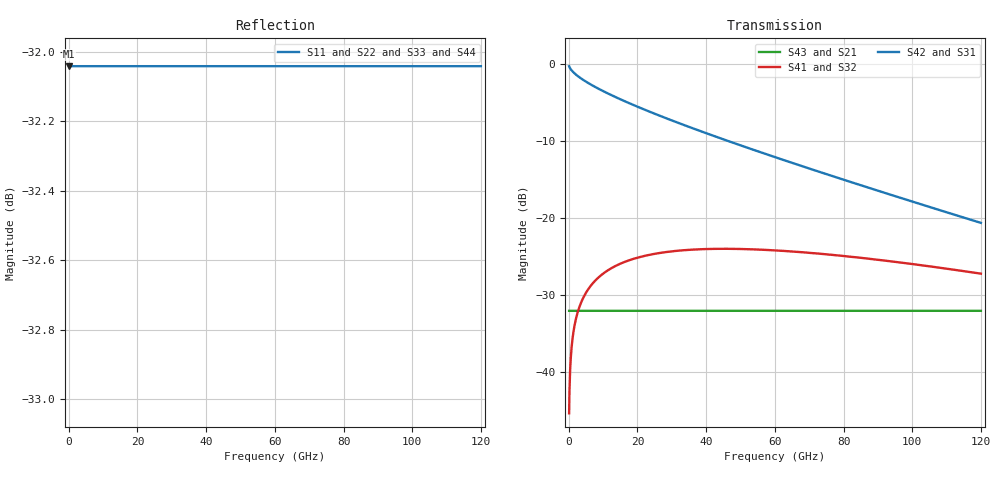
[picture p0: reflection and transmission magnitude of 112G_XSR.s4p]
! Created with skrf 1.12.0 (http://scikit-rf.org).
# Hz S RI R 50.0
!freq ReS11 ImS11 ReS12 ImS12 ReS13 ImS13
! ReS14 ImS14
! ReS21 ImS21 ReS22 ImS22 ReS23 ImS23
! ReS24 ImS24
! ReS31 ImS31 ReS32 ImS32 ReS33 ImS33
! ReS34 ImS34
! ReS41 ImS41 ReS42 ImS42 ReS43 ImS43
! ReS44 ImS44
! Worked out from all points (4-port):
!   1200 points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, 100 MHz to 120 GHz, reference 50 ohm
!   strongest paths, dB at 100 MHz, 30.1 GHz, 60.1 GHz, 90.1 GHz, 120 GHz:
!     S42: -0.3, -7.3, -12.1, -16.4, -20.6
!     S31: -0.3, -7.3, -12.1, -16.4, -20.6
!     S41: -45.4, -24.3, -24.2, -25.4, -27.2
!     S32: -45.4, -24.3, -24.2, -25.4, -27.2
!     S43: -32.0, -32.0, -32.0, -32.0, -32.0
!     S21: -32.0, -32.0, -32.0, -32.0, -32.0
!   lowest |S11| = -32.0 dB at 100 MHz (marker M1), VSWR 1.05, Z = 52.6 + j0 ohm
!   |S11| at or under -10 dB: start of sweep to end of sweep
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1e8  0.025 0  -0.025 0  0.964 -0.1109  0.00453 0.00293
     -0.025 0  0.025 0  0.00453 0.00293  0.964 -0.1109
     0.964 -0.1109  0.00453 0.00293  0.025 0  -0.025 0
     0.00453 0.00293  0.964 -0.1109  -0.025 0  0.025 0
3.3e9  0.025 0  -0.025 0  -0.8139 -0.0536  -0.0228 -0.0148
       -0.025 0  0.025 0  -0.0228 -0.0148  -0.8139 -0.0536
       -0.8139 -0.0536  -0.0228 -0.0148  0.025 0  -0.025 0
       -0.0228 -0.0148  -0.8139 -0.0536  -0.025 0  0.025 0
6.8e9  0.025 0  -0.025 0  0.7291 0.00937  0.0327 0.0179
       -0.025 0  0.025 0  0.0327 0.0179  0.7291 0.00937
       0.7291 0.00937  0.0327 0.0179  0.025 0  -0.025 0
       0.0327 0.0179  0.7291 0.00937  -0.025 0  0.025 0
1.02e10  0.025 0  -0.025 0  -0.664 -0.0364  -0.0377 -0.0226
         -0.025 0  0.025 0  -0.0377 -0.0226  -0.664 -0.0364
         -0.664 -0.0364  -0.0377 -0.0226  0.025 0  -0.025 0
         -0.0377 -0.0226  -0.664 -0.0364  -0.025 0  0.025 0
1.37e10  0.025 0  -0.025 0  0.6101 0.00336  0.0431 0.0234
         -0.025 0  0.025 0  0.0431 0.0234  0.6101 0.00336
         0.6101 0.00336  0.0431 0.0234  0.025 0  -0.025 0
         0.0431 0.0234  0.6101 0.00336  -0.025 0  0.025 0
1.71e10  0.025 0  -0.025 0  -0.5636 -0.0263  -0.0451 -0.0275
         -0.025 0  0.025 0  -0.0451 -0.0275  -0.5636 -0.0263
         -0.5636 -0.0263  -0.0451 -0.0275  0.025 0  -0.025 0
         -0.0451 -0.0275  -0.5636 -0.0263  -0.025 0  0.025 0
1.2e11  0.025 0  -0.025 0  -0.0929 -0.00682  -0.0315 -0.0301
        -0.025 0  0.025 0  -0.0315 -0.0301  -0.0929 -0.00682
        -0.0929 -0.00682  -0.0315 -0.0301  0.025 0  -0.025 0
        -0.0315 -0.0301  -0.0929 -0.00682  -0.025 0  0.025 0
